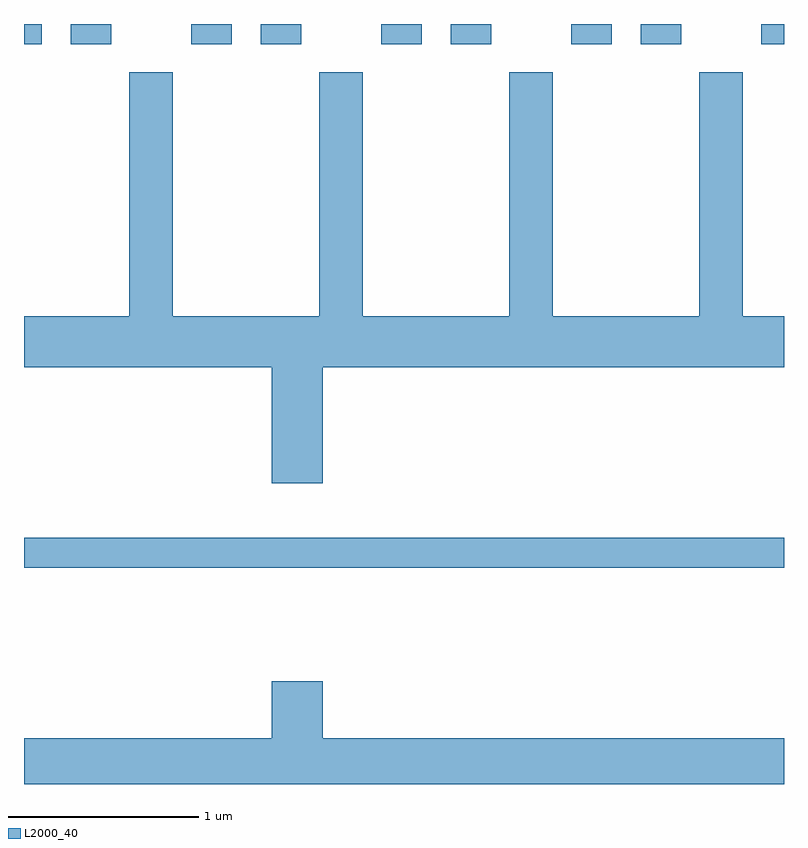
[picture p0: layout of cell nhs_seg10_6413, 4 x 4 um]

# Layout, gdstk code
import gdstk
lib = gdstk.Library(unit=1e-6, precision=1e-09)
def R(c, l, rs):  # rectangles x0, y0, x1, y1
    for r in rs: c.add(gdstk.rectangle(r[:2], r[2:], *l))
def P(c, l, *ps):  # polygons
    for p in ps: c.add(gdstk.Polygon(p, *l))
L2000_40 = (2000, 40)

nhs_seg10_6413 = lib.new_cell('nhs_seg10_6413')
R(nhs_seg10_6413, L2000_40, [(373.611,2201.661,377.611,2201.819), (373.611,2204.416,373.704,2204.522), (373.856,2204.416,374.069,2204.522), (374.491,2204.416,374.704,2204.522), (374.856,2204.416,375.069,2204.522), (375.491,2204.416,375.704,2204.522), (375.856,2204.416,376.069,2204.522), (376.491,2204.416,376.704,2204.522), (376.856,2204.416,377.069,2204.522), (377.491,2204.416,377.611,2204.522)])
P(nhs_seg10_6413, L2000_40, [(374.916,2202.106),(375.184,2202.106),(375.184,2202.716),(377.611,2202.716),(377.611,2202.984),(377.394,2202.984),(377.394,2204.269),(377.166,2204.269),(377.166,2202.984),(376.394,2202.984),(376.394,2204.269),(376.166,2204.269),(376.166,2202.984),(375.394,2202.984),(375.394,2204.269),(375.166,2204.269),(375.166,2202.984),(374.394,2202.984),(374.394,2204.269),(374.166,2204.269),(374.166,2202.984),(373.611,2202.984),(373.611,2202.716),(374.916,2202.716)],
  [(377.611,2200.764),(375.184,2200.764),(375.184,2201.064),(374.916,2201.064),(374.916,2200.764),(373.611,2200.764),(373.611,2200.522),(377.611,2200.522)])

lib.write_gds('nhs_seg10_6413.gds')
